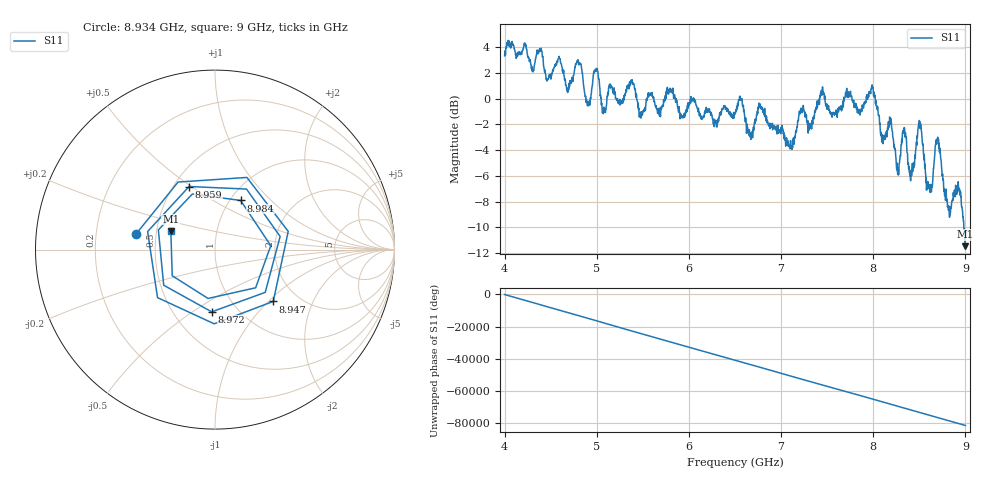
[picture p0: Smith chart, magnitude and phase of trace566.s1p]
! Created with skrf 1.8.0 (http://scikit-rf.org).
# Hz S RI R 50.0
!freq ReS11 ImS11
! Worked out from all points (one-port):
!   1601 points, 4 GHz to 9 GHz, reference 50 ohm
!   lowest |S11| = -11.5 dB at 9 GHz (marker M1), VSWR 1.73, Z = 29.7 + j6.6 ohm
!   |S11| at or under -10 dB: 8.983115 GHz to end of sweep
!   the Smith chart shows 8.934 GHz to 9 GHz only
!   S11 on the Smith chart (normalised r, x): 8.934 GHz: 0.38, +0.08; 8.947 GHz: 1.50, -1.07; 8.959 GHz: 0.60, +0.49; 8.972 GHz: 0.76, -0.60; 8.984 GHz: 1.12, +0.68; 9 GHz: 0.59, +0.13
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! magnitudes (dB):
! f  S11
! 4 GHz  3.3
! 4.625 GHz  2.4
! 5.25 GHz  -0.1
! 5.381 GHz  1.3
! 5.484 GHz  -1.1
! 5.875 GHz  -0.5
! 6.5 GHz  -1.1
! 7.125 GHz  -3.8
! 7.444 GHz  0.6
! 7.559 GHz  -1.2
! 7.75 GHz  0.4
! 7.994 GHz  0.8
! 8.1 GHz  -3.1
! 8.188 GHz  -1.8
! 8.272 GHz  -5.4
! 8.338 GHz  -2.2
! 8.375 GHz  -5.0
! 8.422 GHz  -5.4
! 8.506 GHz  -1.8
! 8.6 GHz  -6.8
! 8.697 GHz  -3.1
! 8.819 GHz  -8.6
! 8.934 GHz  -7.0
! 8.947 GHz  -7.2
! 8.959 GHz  -8.4
! 8.972 GHz  -9.2
! 8.984 GHz  -10.2
! 9 GHz  -11.5
